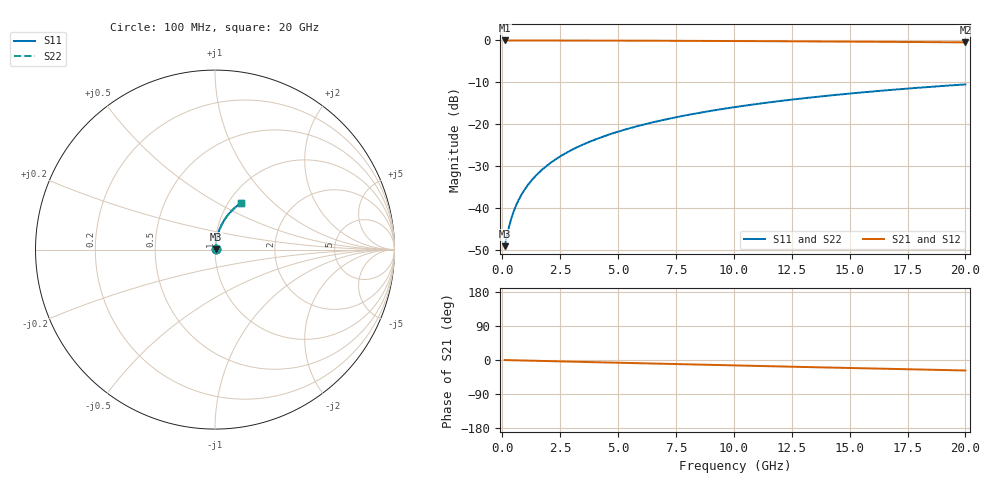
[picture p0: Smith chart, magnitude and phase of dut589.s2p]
! Touchstone file exported from HFSS 2026.1.0
!  File:  C:/ffzhzh/LocalFiles/Ansys_Project_Files/temp_train_TMRDL_589_1783008392_55676.aedt
!  Generated:  12:07:58 AM Jul  3, 2026
!  Design:  TMRDL
!  Project:  temp_train_TMRDL_589_1783008392_55676
! Variables:
!  h_bsmrdl = 2um
!  h_ox = 20um
!  h_rdl = 5um
!  h_sub = 80um
!  h_tmrdl = 2.44um
!  h_tsv = 80um
!  h_via = 3um
!  l_bsmrdl = 300um
!  l_sub = 750.18um
!  l_tmrdl = 350.18um
!  m_sub = 200um
!  pitch = 46.06um
!  r_tsv = 6um
!  s_tmrdl = 10um
!  w_bsmrdl = 18um
!  w_sub = 500um
!  w_tmrdl = 18.43um
!  x_tsv_center1 = 359.395um
!  x_tsv_center2 = 677.395um
!  x_tsv_center3 = 1046.005um
!  x_tsv_center4 = 1364.005um
!  x_tsv_center5 = 1732.615um
!  x_tsv_center6 = 2050.615um
# GHz S MA R 50.000000
! Terminal data exported
! Port[1] = TM_RDL1_1_T1
! Port[2] = TM_RDL1_1_T2
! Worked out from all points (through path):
!   200 points, 100 MHz to 20 GHz, reference 50 ohm
!   highest |S21| = -0.03 dB at 100 MHz (marker M1); lowest = -0.5 dB at 20 GHz (marker M2)
!   group delay of S21, straight-line fit = 3.85 ps
!   lowest |S11| = -49.1 dB at 100 MHz (marker M3), VSWR 1.01, Z = 50.3 + j0.177 ohm
!   |S11| at or under -10 dB: start of sweep to end of sweep
!   |S22| runs from -49.1 to -10.5 dB; largest |S21 - S12| = 2.7e-15
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0.1  0.003505 30.1  0.997 -0.2  0.997 -0.2  0.003505 30.1
! Gamma 0 0 0 0
! Port Impedance 50 0 50 0
0.3  0.006119 58.5  0.9968 -0.5  0.9968 -0.5  0.006119 58.5
0.4  0.007658 64.3  0.9967 -0.6  0.9967 -0.6  0.007658 64.3
0.5  0.009228 68.1  0.9966 -0.7  0.9966 -0.7  0.009228 68.1
0.6  0.01081 70.7  0.9965 -0.9  0.9965 -0.9  0.01081 70.7
0.8  0.01398 74.1  0.9964 -1.2  0.9964 -1.2  0.01398 74.1
1.1  0.01875 77.1  0.9962 -1.6  0.9962 -1.6  0.01875 77.1
1.3  0.02194 78.3  0.996 -1.9  0.996 -1.9  0.02194 78.3
1.6  0.02674 79.5  0.9958 -2.3  0.9958 -2.3  0.02674 79.5
2.1  0.03478 80.5  0.9955 -3.1  0.9955 -3.1  0.03478 80.5
2.7  0.04445 80.9  0.995 -3.9  0.995 -3.9  0.04445 80.9
3.5  0.05735 80.8  0.9942 -5.1  0.9942 -5.1  0.05735 80.8
4.2  0.0686 80.4  0.9934 -6.1  0.9934 -6.1  0.0686 80.4
5  0.08141 79.7  0.9923 -7.2  0.9923 -7.2  0.08141 79.7
5.9  0.09572 78.7  0.9908 -8.5  0.9908 -8.5  0.09572 78.7
6.8  0.1099 77.7  0.9891 -9.8  0.9891 -9.8  0.1099 77.7
8.3  0.1333 75.8  0.9858 -11.9  0.9858 -11.9  0.1333 75.8
10.1  0.1607 73.5  0.9812 -14.4  0.9812 -14.4  0.1607 73.5
11.7  0.1846 71.4  0.9766 -16.6  0.9766 -16.6  0.1846 71.4
13.4  0.2093 69.2  0.9712 -18.9  0.9712 -18.9  0.2093 69.2
16.7  0.2551 64.9  0.9594 -23.4  0.9594 -23.4  0.2551 64.9
20  0.2981 60.8  0.9463 -27.7  0.9463 -27.7  0.2981 60.8
